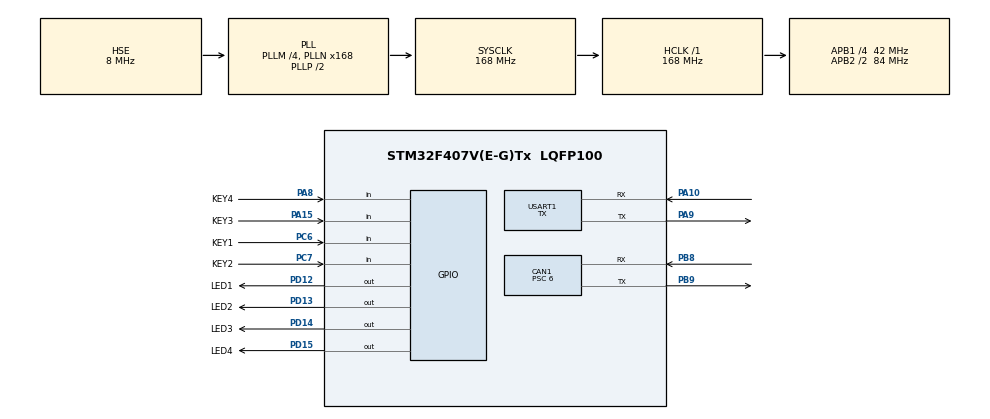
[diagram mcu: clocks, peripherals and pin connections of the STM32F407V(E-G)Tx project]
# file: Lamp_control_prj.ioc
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CAN1.BS1=CAN_BS1_10TQ
CAN1.BS2=CAN_BS2_3TQ
CAN1.CalculateBaudRate=500000
CAN1.CalculateTimeBit=2000
CAN1.CalculateTimeQuantum=142.85714285714286
CAN1.Mode=CAN_MODE_LOOPBACK
CAN1.Prescaler=6
FREERTOS.Tasks01=defaultTask,24,128,StartDefaultTask,Default,NULL,Dynamic,NULL,NULL
Mcu.Family=STM32F4
Mcu.Name=STM32F407V(E-G)Tx
Mcu.Package=LQFP100
NVIC.PriorityGroup=NVIC_PRIORITYGROUP_4
NVIC.TIM7_IRQn=true\:15\:0\:false\:false\:true\:false\:false\:true\:true
NVIC.TimeBase=TIM7_IRQn
NVIC.TimeBaseIP=TIM7
PA10.Mode=Asynchronous
PA10.Signal=USART1_RX
PA13.Mode=Serial_Wire
PA13.Signal=SYS_JTMS-SWDIO
PA14.Mode=Serial_Wire
PA14.Signal=SYS_JTCK-SWCLK
PA15.GPIO_Label=KEY3
PA15.GPIO_PuPd=GPIO_PULLUP
PA15.Signal=GPIO_Input
PA8.GPIO_Label=KEY4
PA8.GPIO_PuPd=GPIO_PULLUP
PA8.Signal=GPIO_Input
PA9.Mode=Asynchronous
PA9.Signal=USART1_TX
PB8.Mode=CAN_Activate
PB8.Signal=CAN1_RX
PB9.Mode=CAN_Activate
PB9.Signal=CAN1_TX
PC6.GPIO_Label=KEY1
PC6.GPIO_PuPd=GPIO_PULLUP
PC6.Signal=GPIO_Input
PC7.GPIO_Label=KEY2
PC7.GPIO_PuPd=GPIO_PULLUP
PC7.Signal=GPIO_Input
PD12.GPIO_Label=LED1
PD12.GPIO_PuPd=GPIO_PULLUP
PD12.PinState=GPIO_PIN_SET
PD12.Signal=GPIO_Output
PD13.GPIO_Label=LED2
PD13.GPIO_PuPd=GPIO_PULLUP
PD13.PinState=GPIO_PIN_SET
PD13.Signal=GPIO_Output
PD14.GPIO_Label=LED3
PD14.GPIO_PuPd=GPIO_PULLUP
PD14.PinState=GPIO_PIN_SET
PD14.Signal=GPIO_Output
PD15.GPIO_Label=LED4
PD15.GPIO_PuPd=GPIO_PULLUP
PD15.PinState=GPIO_PIN_SET
PD15.Signal=GPIO_Output
PH0-OSC_IN.Mode=HSE-External-Oscillator
PH0-OSC_IN.Signal=RCC_OSC_IN
PH1-OSC_OUT.Mode=HSE-External-Oscillator
PH1-OSC_OUT.Signal=RCC_OSC_OUT
ProjectManager.HeapSize=0x200
ProjectManager.StackSize=0x400
ProjectManager.TargetToolchain=MDK-ARM V5.32
RCC.48MHZClocksFreq_Value=84000000
RCC.AHBFreq_Value=168000000
RCC.APB1CLKDivider=RCC_HCLK_DIV4
RCC.APB1Freq_Value=42000000
RCC.APB1TimFreq_Value=84000000
RCC.APB2CLKDivider=RCC_HCLK_DIV2
RCC.APB2Freq_Value=84000000
RCC.APB2TimFreq_Value=168000000
RCC.CortexFreq_Value=168000000
RCC.HCLKFreq_Value=168000000
RCC.HSE_VALUE=8000000
RCC.HSI_VALUE=16000000
RCC.LSE_VALUE=32768
RCC.PLLM=4
RCC.PLLN=168
RCC.PLLSourceVirtual=RCC_PLLSOURCE_HSE
RCC.SYSCLKFreq_VALUE=168000000
RCC.SYSCLKSource=RCC_SYSCLKSOURCE_PLLCLK
RCC.VCOOutputFreq_Value=336000000
USART1.Mode=MODE_TX
USART1.VirtualMode=VM_ASYNC
VP_FREERTOS_VS_CMSIS_V2.Mode=CMSIS_V2
VP_SYS_VS_tim7.Mode=TIM7
board=custom

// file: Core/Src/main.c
/* USER CODE BEGIN Header */
/**
  ******************************************************************************
  * @file           : main.c
  * @brief          : Main program body
  ******************************************************************************
  * @attention
  *
  * Copyright (c) 2024 STMicroelectronics.
  * All rights reserved.
  *
  * This software is licensed under terms that can be found in the LICENSE file
  * in the root directory of this software component.
  * If no LICENSE file comes with this software, it is provided AS-IS.
  *
  ******************************************************************************
  */
/* USER CODE END Header */
#include "main.h"
#include "cmsis_os.h"
#include "can.h"
#include "usart.h"
#include "gpio.h"

/* USER CODE BEGIN Includes */
#include "timers.h"
/* USER CODE END Includes */

void SystemClock_Config(void);
void MX_FREERTOS_Init(void);

/* USER CODE BEGIN 0 */
void ProcessCanMessage(CAN_RxHeaderTypeDef RxHeader, uint8_t RxData[]);
extern CAN_HandleTypeDef hcan1;
// 定时器句柄
TimerHandle_t left_turn_signal_timer;
TimerHandle_t right_turn_signal_timer;

// 左转向灯定时器回调函数
void left_turn_signal_timer_callback(TimerHandle_t xTimer) {
    static BaseType_t xLightOn = pdFALSE;
    if (xLightOn) {
        // 关闭车灯的具体实现
        printf("Blink off\n");
        LED3_ON;
        xLightOn = pdFALSE;
    } else {
        // 打开车灯的具体实现
        printf("Blink on\n");
        LED3_OFF;
        xLightOn = pdTRUE;
    }
}

// 右转向灯定时器回调函数
void right_turn_signal_timer_callback(TimerHandle_t xTimer) {
    static BaseType_t xLightOn = pdFALSE;
    if (xLightOn) {
        // 关闭车灯的具体实现
        printf("Blink off\r\n");
        LED4_ON;
        xLightOn = pdFALSE;
    } else {
        // 打开车灯的具体实现
        printf("Blink on\r\n");
        LED4_OFF;
        xLightOn = pdTRUE;
    }
}
void CAN_SendMessageTask(void *argument) {
    CAN_TxHeaderTypeDef TxHeader;
    TickType_t xLastWakeTime;
    uint8_t TxData[8];
    uint32_t TxMailbox;
    const TickType_t xFrequency = pdMS_TO_TICKS(20); // 20毫秒
    // 初始化变量，存储当前时钟节拍计数??
    xLastWakeTime = xTaskGetTickCount();

    // 配置发???消息头
    TxHeader.StdId = 0x00;  // 设置标准ID
    TxHeader.ExtId = 0x12345678;   // 设置扩展ID
    TxHeader.IDE = CAN_ID_EXT;  // 使用标准ID
    TxHeader.RTR = CAN_RTR_DATA;  // 数据??
    TxHeader.DLC = 8;  // 数据长度

    while (1)
    {
      /* code */
      // 设置发???数??
    TxData[0] = K1_State;
    TxData[1] = K2_State;
    TxData[2] = K3_State;
    TxData[3] = K4_State;

    // 发???消??
    if (HAL_CAN_AddTxMessage(&hcan1, &TxHeader, TxData, &TxMailbox) != HAL_OK) {
      printf("send message failed\r\n");
        // 发???失败处??
    }
    vTaskDelayUntil(&xLastWakeTime, xFrequency);
    }
}

void CanReceiveTask(void *argument) {
    CAN_RxHeaderTypeDef RxHeader;
    const TickType_t xFrequency = pdMS_TO_TICKS(1); // 1毫秒
    TickType_t xLastWakeTime;
    uint8_t RxData[8];
    for(;;) {
        if (HAL_CAN_GetRxMessage(&hcan1, CAN_RX_FIFO0, &RxHeader, RxData) == HAL_OK) {
            // 处理接收到的CAN消息
            ProcessCanMessage(RxHeader, RxData);
        }
        else
        {
        }
        vTaskDelayUntil(&xLastWakeTime, xFrequency);
    }
}

void ProcessCanMessage(CAN_RxHeaderTypeDef RxHeader, uint8_t RxData[]) {
    // 根据ID和数据处理不同的灯控命令
    static uint8_t K3_last_state = 0, K4_last_state = 0;
    uint8_t K3_state, K4_state;
    switch (RxHeader.ExtId) {
        case 0x12345678:
            // printf("0x12345678:");
            // for(i = 0;i<8;i++)
            // {
            //   printf("%#X ",RxData[i]);
            // }
            // printf("\r\n");
            // 远光灯控??
            if (RxData[0] == 0x00) {
                LED1_ON;
            } else {
                LED1_OFF;
            }
            if (RxData[1] == 0x00) {
                LED2_ON;
            } else {
                LED2_OFF;
            }
            K3_state = (RxData[2] == 0x00) ? 0 : 1;
            if (K3_state != K3_last_state) {
                if (K3_state == 0) {
                    xTimerStart(left_turn_signal_timer, 0);
                } else {
                    LED3_OFF;
                    xTimerStop(left_turn_signal_timer, 0);
                }
                K3_last_state = K3_state;
            }

            // 控制右转向灯
            K4_state = (RxData[3] == 0x00) ? 0 : 1;
            if (K4_state != K4_last_state) {
                if (K4_state == 0) {
                    xTimerStart(right_turn_signal_timer, 0);
                } else {
                    LED4_OFF;
                    xTimerStop(right_turn_signal_timer, 0);
                }
                K4_last_state = K4_state;
            }
            break;
            break;
        default:
            printf("Error message!!\r\n");
            break;
        // 更多控制逻辑
    }
}
/* USER CODE END 0 */

int main(void)
{

  /* MCU Configuration--------------------------------------------------------*/

  /* Reset of all peripherals, Initializes the Flash interface and the Systick. */
  HAL_Init();

  /* Configure the system clock */
  SystemClock_Config();

  /* Initialize all configured peripherals */
  MX_GPIO_Init();
  MX_CAN1_Init();
  MX_USART1_UART_Init();
  /* USER CODE BEGIN 2 */
  printf("你好世界!\r\n");
  xTaskCreate(CAN_SendMessageTask, "CAN_SendMessageTask", 512, NULL, 5, NULL);
  xTaskCreate(CanReceiveTask, "CanReceiveTask", 512, NULL, 4, NULL);
  #define TURN_SIGNAL_BLINK_INTERVAL pdMS_TO_TICKS(500)
  left_turn_signal_timer = xTimerCreate("LeftTurnSignalTimer", TURN_SIGNAL_BLINK_INTERVAL, pdTRUE, (void *)0, left_turn_signal_timer_callback);
  right_turn_signal_timer = xTimerCreate("RightTurnSignalTimer", TURN_SIGNAL_BLINK_INTERVAL, pdTRUE, (void *)0, right_turn_signal_timer_callback);
  if (left_turn_signal_timer&&right_turn_signal_timer == NULL)
    {
        // 定时器创建失败处理
        printf("Timer creation failed.\n");
    }
    else
    {
        printf("Timer created successfully.\n");
    }
  /* USER CODE END 2 */

  /* Init scheduler */
  osKernelInitialize();  /* Call init function for freertos objects (in freertos.c) */
  MX_FREERTOS_Init();

  /* Start scheduler */
  osKernelStart();
  /* We should never get here as control is now taken by the scheduler */
  /* Infinite loop */
  while (1)
  {

  }
}

void SystemClock_Config(void)
{
  RCC_OscInitTypeDef RCC_OscInitStruct = {0};
  RCC_ClkInitTypeDef RCC_ClkInitStruct = {0};

  /** Configure the main internal regulator output voltage
  */
  __HAL_RCC_PWR_CLK_ENABLE();
  __HAL_PWR_VOLTAGESCALING_CONFIG(PWR_REGULATOR_VOLTAGE_SCALE1);

  /** Initializes the RCC Oscillators according to the specified parameters
  * in the RCC_OscInitTypeDef structure.
  */
  RCC_OscInitStruct.OscillatorType = RCC_OSCILLATORTYPE_HSE;
  RCC_OscInitStruct.HSEState = RCC_HSE_ON;
  RCC_OscInitStruct.PLL.PLLState = RCC_PLL_ON;
  RCC_OscInitStruct.PLL.PLLSource = RCC_PLLSOURCE_HSE;
  RCC_OscInitStruct.PLL.PLLM = 4;
  RCC_OscInitStruct.PLL.PLLN = 168;
  RCC_OscInitStruct.PLL.PLLP = RCC_PLLP_DIV2;
  RCC_OscInitStruct.PLL.PLLQ = 4;
  if (HAL_RCC_OscConfig(&RCC_OscInitStruct) != HAL_OK)
  {
    Error_Handler();
  }

  /** Initializes the CPU, AHB and APB buses clocks
  */
  RCC_ClkInitStruct.ClockType = RCC_CLOCKTYPE_HCLK|RCC_CLOCKTYPE_SYSCLK
                              |RCC_CLOCKTYPE_PCLK1|RCC_CLOCKTYPE_PCLK2;
  RCC_ClkInitStruct.SYSCLKSource = RCC_SYSCLKSOURCE_PLLCLK;
  RCC_ClkInitStruct.AHBCLKDivider = RCC_SYSCLK_DIV1;
  RCC_ClkInitStruct.APB1CLKDivider = RCC_HCLK_DIV4;
  RCC_ClkInitStruct.APB2CLKDivider = RCC_HCLK_DIV2;

  if (HAL_RCC_ClockConfig(&RCC_ClkInitStruct, FLASH_LATENCY_5) != HAL_OK)
  {
    Error_Handler();
  }
}

void HAL_TIM_PeriodElapsedCallback(TIM_HandleTypeDef *htim)
{
  if (htim->Instance == TIM7) {
    HAL_IncTick();
  }
}

void Error_Handler(void)
{
  __disable_irq();
  while (1)
  {
  }
}
